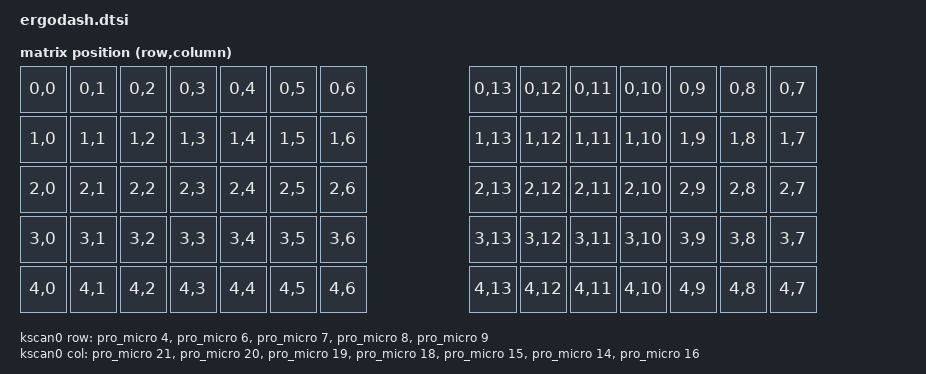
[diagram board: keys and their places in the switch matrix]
/*
 * Copyright (c) 2020 The ZMK Contributors
 *
 * SPDX-License-Identifier: MIT
 */

#include <dt-bindings/zmk/matrix_transform.h>

/ {
    chosen {
        zmk,kscan = &kscan0;
        zmk,matrix-transform = &default_transform;
    };

    default_transform: keymap_transform_0 {
        compatible = "zmk,matrix-transform";
        columns = <14>;
        rows = <5>;
// Numbering based on rev 1.2 schema
// * keys that can be in different positions are denoted as MW
// * MW40 can be broken off
// | SW1  | SW5  | SW9  | SW13 | SW17 | SW21 | SW25 |      |    |      | SW25 | SW21 | SW17 | SW13 | SW9  | SW5  | SW1  |
// | SW2  | SW6  | SW10 | SW14 | SW18 | SW22 | SW26 |      |    |      | SW26 | SW22 | SW18 | SW14 | SW10 | SW6  | SW2  |
// | SW3  | SW7  | SW11 | SW15 | SW19 | SW23 | SW27 |      |    |      | SW27 | SW23 | SW19 | SW15 | SW11 | SW7  | SW3  |
// | SW4  | SW8  | SW12 | SW16 | SW20 | SW24 |      | MW28 |    | MW28 |      | SW24 | SW20 | SW16 | SW12 | SW8  | SW4  |
// | SW30 | SW31 | SW32 | MW33 | SW34 |      | MW35 | MW40 |    | MW40 | MW35 |      | SW34 | MW33 | SW32 | SW31 | SW30 |
        map = <
RC(0,0) RC(0,1) RC(0,2) RC(0,3) RC(0,4) RC(0,5) RC(0,6)                 RC(0,13) RC(0,12) RC(0,11) RC(0,10) RC(0,9) RC(0,8) RC(0,7)
RC(1,0) RC(1,1) RC(1,2) RC(1,3) RC(1,4) RC(1,5) RC(1,6)                 RC(1,13) RC(1,12) RC(1,11) RC(1,10) RC(1,9) RC(1,8) RC(1,7)
RC(2,0) RC(2,1) RC(2,2) RC(2,3) RC(2,4) RC(2,5) RC(2,6)                 RC(2,13) RC(2,12) RC(2,11) RC(2,10) RC(2,9) RC(2,8) RC(2,7)
RC(3,0) RC(3,1) RC(3,2) RC(3,3) RC(3,4) RC(3,5)         RC(3,6) RC(3,13)         RC(3,12) RC(3,11) RC(3,10) RC(3,9) RC(3,8) RC(3,7)
RC(4,0) RC(4,1) RC(4,2) RC(4,3) RC(4,4)         RC(4,5) RC(4,6) RC(4,13) RC(4,12)         RC(4,11) RC(4,10) RC(4,9) RC(4,8) RC(4,7)
        >;
  };

    kscan0: kscan {
        compatible = "zmk,kscan-gpio-matrix";

        diode-direction = "col2row";

        row-gpios
            = <&pro_micro 4 (GPIO_ACTIVE_HIGH | GPIO_PULL_DOWN)>
            , <&pro_micro 6 (GPIO_ACTIVE_HIGH | GPIO_PULL_DOWN)>
            , <&pro_micro 7 (GPIO_ACTIVE_HIGH | GPIO_PULL_DOWN)>
            , <&pro_micro 8 (GPIO_ACTIVE_HIGH | GPIO_PULL_DOWN)>
            , <&pro_micro 9 (GPIO_ACTIVE_HIGH | GPIO_PULL_DOWN)>
            ;

        col-gpios
            = <&pro_micro 21 (GPIO_ACTIVE_HIGH | GPIO_PULL_DOWN)>
            , <&pro_micro 20 (GPIO_ACTIVE_HIGH | GPIO_PULL_DOWN)>
            , <&pro_micro 19 (GPIO_ACTIVE_HIGH | GPIO_PULL_DOWN)>
            , <&pro_micro 18 (GPIO_ACTIVE_HIGH | GPIO_PULL_DOWN)>
            , <&pro_micro 15 (GPIO_ACTIVE_HIGH | GPIO_PULL_DOWN)>
            , <&pro_micro 14 (GPIO_ACTIVE_HIGH | GPIO_PULL_DOWN)>
            , <&pro_micro 16 (GPIO_ACTIVE_HIGH | GPIO_PULL_DOWN)>
            ;
    };
};

